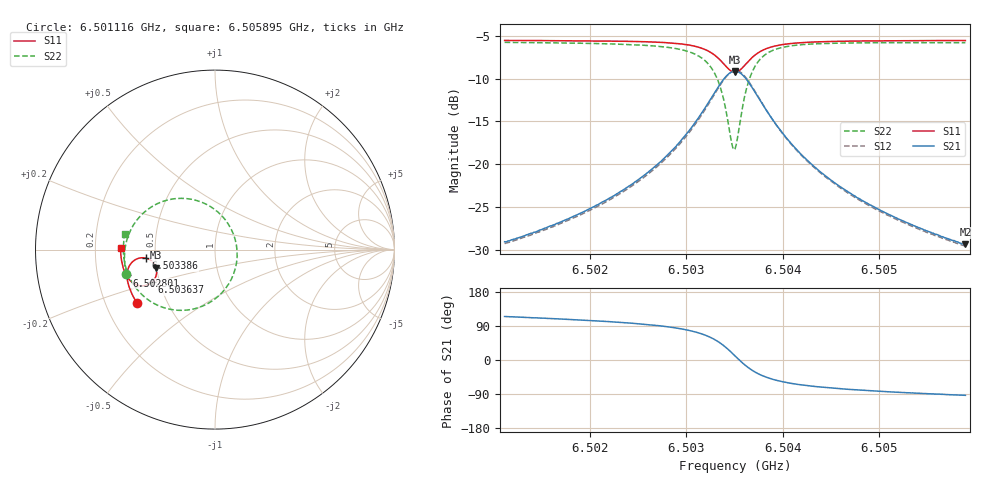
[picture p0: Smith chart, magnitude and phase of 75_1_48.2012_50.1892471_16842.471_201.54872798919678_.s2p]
#  HZ  S  RI  R  50.00
! Rohde & Schwarz Vector Network Analyzer
! Rohde-Schwarz,ZNB20-2Port,1311601062101988,3.16
! Created: UTC 3/20/2024, 11:39:20 AM
! freq[Hz]  re:S11  im:S11  re:S21  im:S21  re:S12  im:S12  re:S22  im:S22
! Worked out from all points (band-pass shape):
!   401 points, 6.501116 GHz to 6.505895 GHz, reference 50 ohm
!   highest |S21| = -9.15 dB at 6.503506 GHz (marker M1); lowest = -29.3 dB at 6.505895 GHz (marker M2)
!   |S21| within 3 dB of the highest: 6.503267 GHz to 6.503745 GHz (477.9 kHz wide, 0.00735 % of centre)
!   lowest |S11| = -9.3 dB at 6.503506 GHz (marker M3), VSWR 2.05, Z = 24.8 - j5.71 ohm
!   |S11| at or under -10 dB: nowhere
!   |S22| runs from -18.3 to -5.8 dB; largest |S21 - S12| = 0.012
!   S11 on the Smith chart (normalised r, x): 6.501116 GHz: 0.34, -0.28; 6.502801 GHz: 0.33, -0.13; 6.503386 GHz: 0.44, -0.05; 6.503637 GHz: 0.45, -0.20; 6.505895 GHz: 0.31, +0.01
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6.5011163e9  -0.4338 -0.2983  -0.0149 0.0322  -0.013 0.0321  -0.4945 -0.138
6.5019167e9  -0.4671 -0.2375  -0.014 0.0506  -0.0114 0.0501  -0.5045 -0.0497
6.5023588e9  -0.482 -0.1971  -0.0105 0.0711  -0.0075 0.0698  -0.4994 0.0164
6.5027172e9  -0.4897 -0.1558  -0.000766 0.102  0.00293 0.0993  -0.4772 0.0927
6.5028008e9  -0.49 -0.1441  0.0042 0.1127  0.00808 0.1095  -0.4664 0.1157
6.5030039e9  -0.4852 -0.1101  0.0277 0.1482  0.0314 0.1435  -0.4174 0.1854
6.5031473e9  -0.4704 -0.08  0.0663 0.1825  0.0691 0.1763  -0.3424 0.2449
6.5032907e9  -0.4312 -0.0502  0.1507 0.2117  0.1513 0.2051  -0.1884 0.2856
6.5033385e9  -0.4094 -0.0455  0.1943 0.21  0.1944 0.204  -0.1115 0.2761
6.5033863e9  -0.3832 -0.048  0.2447 0.1938  0.2448 0.1891  -0.0255 0.2398
6.5034699e9  -0.3394 -0.0784  0.3247 0.1164  0.3273 0.1121  0.1023 0.0868
6.5035057e9  -0.3283 -0.1013  0.3426 0.0661  0.3463 0.0605  0.1229 -0.00809
6.5035296e9  -0.3253 -0.1182  0.346 0.0306  0.3501 0.0234  0.12 -0.0736
6.5035655e9  -0.3276 -0.143  0.338 -0.021  0.3416 -0.0303  0.0909 -0.1652
6.5036372e9  -0.3505 -0.1813  0.2895 -0.0993  0.2893 -0.1112  -0.0239 -0.2912
6.5037327e9  -0.3925 -0.2013  0.2087 -0.1434  0.2036 -0.1538  -0.1881 -0.3384
6.5038881e9  -0.4429 -0.1939  0.1182 -0.1422  0.1108 -0.1478  -0.3526 -0.2926
6.5040673e9  -0.474 -0.1713  0.0668 -0.119  0.0602 -0.1215  -0.436 -0.2191
6.5043062e9  -0.4952 -0.1415  0.0354 -0.093  0.0304 -0.0935  -0.481 -0.1442
6.5046646e9  -0.5112 -0.1029  0.0156 -0.0683  0.0122 -0.0679  -0.5042 -0.0676
6.5051067e9  -0.5206 -0.0613  0.00533 -0.0507  0.00296 -0.0501  -0.5108 -0.00182
6.5058952e9  -0.5259 0.0064  -0.00192 -0.0342  -0.00331 -0.0333  -0.5036 0.0847
